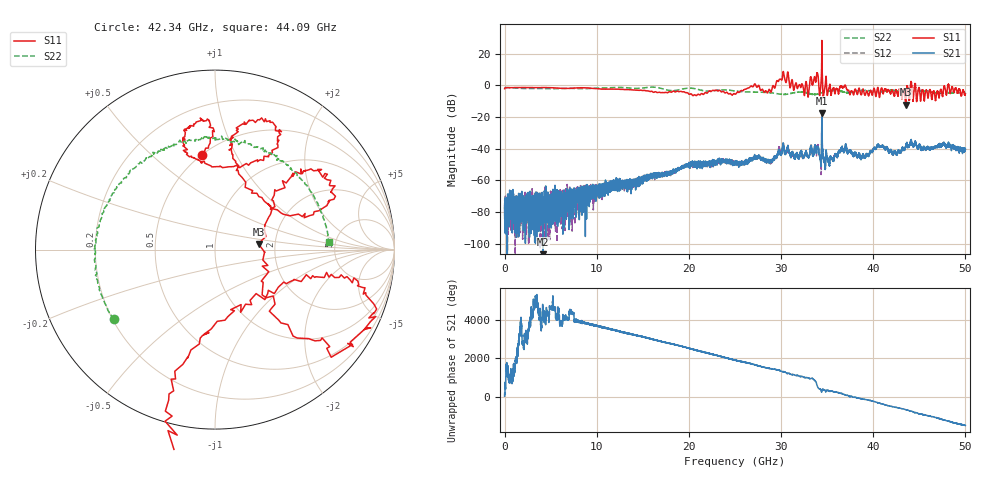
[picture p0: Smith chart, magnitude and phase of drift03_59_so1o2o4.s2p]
!Created with skrf (http://scikit-rf.org).
# Hz S RI R 50.0
!freq ReS11 ImS11 ReS21 ImS21 ReS12 ImS12 ReS22 ImS22
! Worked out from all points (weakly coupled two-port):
!   10000 points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, 5.3 MHz to 50 GHz, reference 50 ohm
!   highest |S21| = -17.70 dB at 34.43 GHz (marker M1); lowest = -117.6 dB at 4.16 GHz (marker M2)
!   lowest |S11| = -12.2 dB at 43.52 GHz (marker M3), VSWR 1.65, Z = 81.9 + j5.43 ohm
!   |S11| at or under -10 dB: 43.48414 GHz to 43.54422 GHz (60.08 MHz wide, 0.138 % of centre); 43.54828 GHz to 43.55178 GHz (3.492 MHz wide, 0.00802 % of centre); 44.30988 GHz to 44.31535 GHz (5.473 MHz wide, 0.0124 % of centre) (the widest 3 of 4)
!   |S22| runs from -5.8 to -1.1 dB; largest |S21 - S12| = 0.032
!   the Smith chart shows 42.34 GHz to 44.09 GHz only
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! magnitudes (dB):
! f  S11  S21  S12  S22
! 5.3 MHz  -2.1  -77.5  -77.8  -1.3
! 4.16 GHz  -1.4  -117.6  -80.1  -2.0
! 8.34 GHz  -1.5  -75.0  -66.1  -2.1
! 16.67 GHz  -4.4  -55.4  -57.5  -1.5
! 20.4 GHz  -6.4  -50.4  -50.2  -1.8
! 25.01 GHz  -5.5  -50.1  -48.2  -3.5
! 27.02 GHz  -0.3  -46.5  -45.1  -4.3
! 28.72 GHz  -2.5  -47.7  -47.3  -4.5
! 30.14 GHz  4.4  -40.6  -41.0  -5.6
! 32.74 GHz  2.0  -42.2  -41.9  -4.6
! 33.34 GHz  2.6  -39.5  -40.5  -5.7
! 33.82 GHz  4.0  -42.0  -41.9  -5.7
! 34.43 GHz  28.4  -17.7  -18.6  -4.6
! 35.34 GHz  -0.7  -44.6  -45.3  -3.3
! 36.84 GHz  -0.7  -41.4  -41.3  -4.2
! 38.85 GHz  -2.8  -44.7  -44.2  -3.2
! 40.61 GHz  -4.8  -38.2  -38.4  -4.0
! 41.67 GHz  -2.9  -42.3  -41.9  -3.3
! 43.52 GHz  -12.2  -39.1  -38.9  -4.1
! 46.94 GHz  -3.8  -38.3  -38.5  -4.9
! 48.32 GHz  -4.5  -38.2  -38.2  -4.6
! 50 GHz  -5.2  -40.4  -40.2  -4.5
